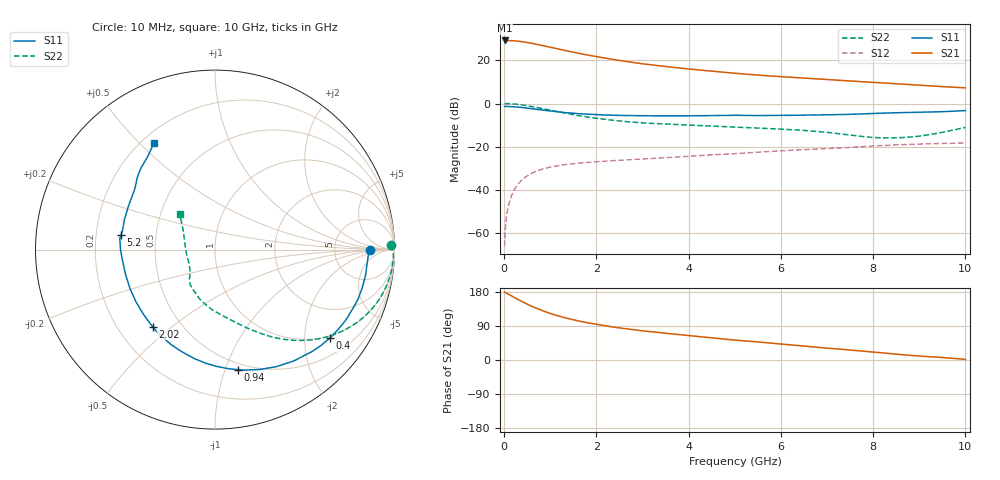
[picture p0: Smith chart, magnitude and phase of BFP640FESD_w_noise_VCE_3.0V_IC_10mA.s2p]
! Infineon Technologies  Discrete & RF Semiconductors
! BFP640FESD
! VCE =  3.0 V,  IC =  10 mA
! Common Emitter S-Parameters:  Jan 2016
# GHz  S  MA  R  50
!  f  S11  S21  S12  S22
! GHz  MAG  ANG  MAG  ANG  MAG  ANG  MAG  ANG
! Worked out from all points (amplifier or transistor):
!   233 points, 10 MHz to 10 GHz, reference 50 ohm
!   highest |S21| = 29.2 dB at 10 MHz (marker M1)
!   |S21| within 3 dB of that: start of sweep to 970.8 MHz
!   unconditionally stable (mu >= 1): 5.111 GHz to end of sweep
!   at 200 MHz: K = 0.06, MSG = 34.9 dB, |S12| = -40.7 dB
!   at 1.74 GHz: K = 0.49, MSG = 25.1 dB, |S12| = -27.4 dB
!   at 10 GHz: K = 1.13, MAG = 10.6 dB, |S12| = -18.3 dB
!   lowest NFmin = 0.67 dB at 450 MHz
!   S11 on the Smith chart (normalised r, x): 10 MHz: 14, -0; 400 MHz: 0.93, -2.65; 940 MHz: 0.44, -1.11; 2.02 GHz: 0.35, -0.43; 5.2 GHz: 0.31, +0.07; 10 GHz: 0.25, +0.55
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0.01  0.8628 -0.1  28.77 179.3  0.0005 84.6  0.9787 1.4
0.055  0.8508 -5.4  28.52 176.0  0.0027 85.7  0.9944 -3.0
0.1  0.851 -9.6  28.62 173.4  0.0046 84.9  0.9925 -5.7
0.2  0.8431 -19.2  28.32 166.5  0.0092 79.5  0.978 -11.5
0.28  0.8295 -26.7  27.78 161.0  0.0127 76.0  0.96 -15.9
0.4  0.8077 -37.6  26.8 153.4  0.0176 70.9  0.9249 -22.2
0.5  0.7844 -46.3  25.77 147.3  0.0212 66.9  0.8901 -27.1
0.6  0.7606 -54.5  24.66 141.5  0.0244 63.2  0.8518 -31.6
0.78  0.7166 -68.1  22.51 132.5  0.0292 57.5  0.7815 -38.8
0.94  0.6809 -79.2  20.71 125.4  0.0327 53.5  0.7214 -44.4
1.1  0.6513 -89.1  19 119.0  0.0355 50.3  0.6652 -49.4
1.3  0.6194 -100.2  17.07 112.0  0.0383 46.9  0.6033 -54.9
1.68  0.576 -117.4  14.09 101.3  0.0422 43.1  0.5106 -63.5
2.02  0.5521 -129.1  12.04 93.8  0.045 41.3  0.4527 -69.9
2.6  0.5281 -146.3  9.554 83.0  0.0493 39.6  0.3845 -80.5
3.4  0.5169 -162.9  7.361 71.9  0.055 39.6  0.3389 -91.6
4  0.5187 -172.7  6.287 64.4  0.06 40.0  0.3181 -97.3
5.1  0.5319 172.4  4.911 51.6  0.0701 39.3  0.2812 -109.3
5.2  0.5301 171.3  4.812 50.7  0.0713 39.5  0.2786 -109.9
6.8  0.5433 150.6  3.686 33.5  0.0884 35.8  0.2244 -128.8
8.4  0.6071 133.7  2.906 16.5  0.1093 30.6  0.1602 -168.9
10  0.6857 119.8  2.307 1.6  0.1223 21.7  0.2796 134.9
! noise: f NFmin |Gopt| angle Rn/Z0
0.45  0.67  0.2  5  0.1
2.4  0.75  0.1  68  0.1
5.5  0.99  0.3  160  0.07
10  1.63  0.46  -117  0.24
